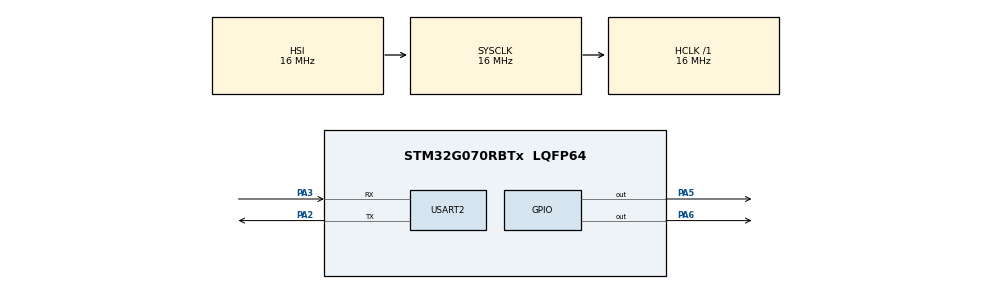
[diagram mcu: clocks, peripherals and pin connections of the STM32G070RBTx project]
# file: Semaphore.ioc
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Mcu.Family=STM32G0
Mcu.Name=STM32G070RBTx
Mcu.Package=LQFP64
NVIC.TIM3_IRQn=true\:3\:0\:false\:false\:true\:false\:true\:true
NVIC.TimeBase=TIM3_IRQn
NVIC.TimeBaseIP=TIM3
PA13.Mode=Serial_Wire
PA13.Signal=SYS_SWDIO
PA14-BOOT0.Mode=Serial_Wire
PA14-BOOT0.Signal=SYS_SWCLK
PA2.Mode=Asynchronous
PA2.Signal=USART2_TX
PA3.Mode=Asynchronous
PA3.Signal=USART2_RX
PA5.Signal=GPIO_Output
PA6.Signal=GPIO_Output
PC14-OSC32_IN\ (PC14).Mode=LSE-External-Oscillator
PC14-OSC32_IN\ (PC14).Signal=RCC_OSC32_IN
PC15-OSC32_OUT\ (PC15).Mode=LSE-External-Oscillator
PC15-OSC32_OUT\ (PC15).Signal=RCC_OSC32_OUT
PF0-OSC_IN\ (PF0).Mode=HSE-External-Clock-Source
PF0-OSC_IN\ (PF0).Signal=RCC_OSC_IN
ProjectManager.HeapSize=0x200
ProjectManager.StackSize=0x400
ProjectManager.TargetToolchain=STM32CubeIDE
RCC.AHBFreq_Value=16000000
RCC.CortexFreq_Value=16000000
RCC.EXTERNAL_CLOCK_VALUE=12288000
RCC.HCLKFreq_Value=16000000
RCC.HSE_VALUE=8000000
RCC.HSI_VALUE=16000000
RCC.SYSCLKFreq_VALUE=16000000
RCC.VCOOutputFreq_Value=128000000
USART2.VirtualMode-Asynchronous=VM_ASYNC
VP_SYS_VS_tim3.Mode=TIM3
board=NUCLEO-G070RB

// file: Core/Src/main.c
/* USER CODE BEGIN Header */
/**
  ******************************************************************************
  * @file           : main.c
  * @brief          : Main program body
  ******************************************************************************
  * @attention
  *
  * Copyright (c) 2023 STMicroelectronics.
  * All rights reserved.
  *
  * This software is licensed under terms that can be found in the LICENSE file
  * in the root directory of this software component.
  * If no LICENSE file comes with this software, it is provided AS-IS.
  *
  ******************************************************************************
  */
/* USER CODE END Header */
#include "main.h"

/* USER CODE BEGIN Includes */
#include "FreeRTOS.h"
#include "semphr.h"
#include "task.h"

/* USER CODE END Includes */

UART_HandleTypeDef huart2;

/* USER CODE BEGIN PV */
SemaphoreHandle_t BinSem;

/* USER CODE END PV */

void SystemClock_Config(void);
static void MX_GPIO_Init(void);
static void MX_USART2_UART_Init(void);
/* USER CODE BEGIN PFP */
static void LED_ON (void *p);
static void LED_OFF (void *p);
static void IDLE_TASK (void *p);

/* USER CODE END PFP */

/* USER CODE BEGIN 0 */

void transmit1 (void)
{
	uint8_t data[] = "Led_On\r\n";
	HAL_UART_Transmit(&huart2, data, sizeof(data), 1000);
}

void transmit2 (void)
{
	uint8_t data[] = "Led_Off\r\n";
	HAL_UART_Transmit(&huart2, data, sizeof(data), 1000);
}

void transmit3 (void)
{
	uint8_t data[] = "Idle_task\r\n";
	HAL_UART_Transmit(&huart2, data, sizeof(data), 1000);
}

static void LED_ON (void *p)
{
	while(1)
	{
		xSemaphoreTake(BinSem, portMAX_DELAY);
		transmit1();
		HAL_GPIO_WritePin(GPIOA,GPIO_PIN_5,SET);
		xSemaphoreGive(BinSem);
		vTaskDelay(500);

	}
}

static void LED_OFF (void *p)
{
	while(1)
	{
		xSemaphoreTake(BinSem, portMAX_DELAY);
		transmit2();
		HAL_GPIO_WritePin(GPIOA,GPIO_PIN_5,RESET);
		xSemaphoreGive(BinSem);
		vTaskDelay(1000);
	}
}

static void IDLE_TASK (void *p)
{
	while(1)
	{
		xSemaphoreTake(BinSem, portMAX_DELAY);
		transmit3();
		HAL_GPIO_WritePin(GPIOA,GPIO_PIN_6,SET);
		xSemaphoreGive(BinSem);
		vTaskDelay(1000);
	}
}

/* USER CODE END 0 */

int main(void)
{
  /* USER CODE BEGIN 1 */
	TaskHandle_t t1,t2,t3;

  /* USER CODE END 1 */

  /* MCU Configuration--------------------------------------------------------*/

  /* Reset of all peripherals, Initializes the Flash interface and the Systick. */
  HAL_Init();

  /* Configure the system clock */
  SystemClock_Config();

  /* Initialize all configured peripherals */
  MX_GPIO_Init();
  MX_USART2_UART_Init();
  /* USER CODE BEGIN 2 */

  BinSem = xSemaphoreCreateBinary();

  xTaskCreate(LED_ON,"T1",200, NULL, 2, &t1);
  xTaskCreate(LED_OFF,"T2",200, NULL, 2, &t2);
  xTaskCreate(IDLE_TASK,"T3",200, NULL, 2, &t3);

  xSemaphoreGive(BinSem);

  vTaskStartScheduler();

  /* USER CODE END 2 */

  /* Infinite loop */
  while (1)
  {

  }
}

void SystemClock_Config(void)
{
  RCC_OscInitTypeDef RCC_OscInitStruct = {0};
  RCC_ClkInitTypeDef RCC_ClkInitStruct = {0};

  /** Configure the main internal regulator output voltage
  */
  HAL_PWREx_ControlVoltageScaling(PWR_REGULATOR_VOLTAGE_SCALE1);

  /** Initializes the RCC Oscillators according to the specified parameters
  * in the RCC_OscInitTypeDef structure.
  */
  RCC_OscInitStruct.OscillatorType = RCC_OSCILLATORTYPE_HSI;
  RCC_OscInitStruct.HSIState = RCC_HSI_ON;
  RCC_OscInitStruct.HSIDiv = RCC_HSI_DIV1;
  RCC_OscInitStruct.HSICalibrationValue = RCC_HSICALIBRATION_DEFAULT;
  RCC_OscInitStruct.PLL.PLLState = RCC_PLL_NONE;
  if (HAL_RCC_OscConfig(&RCC_OscInitStruct) != HAL_OK)
  {
    Error_Handler();
  }

  /** Initializes the CPU, AHB and APB buses clocks
  */
  RCC_ClkInitStruct.ClockType = RCC_CLOCKTYPE_HCLK|RCC_CLOCKTYPE_SYSCLK
                              |RCC_CLOCKTYPE_PCLK1;
  RCC_ClkInitStruct.SYSCLKSource = RCC_SYSCLKSOURCE_HSI;
  RCC_ClkInitStruct.AHBCLKDivider = RCC_SYSCLK_DIV1;
  RCC_ClkInitStruct.APB1CLKDivider = RCC_HCLK_DIV1;

  if (HAL_RCC_ClockConfig(&RCC_ClkInitStruct, FLASH_LATENCY_0) != HAL_OK)
  {
    Error_Handler();
  }
}

static void MX_USART2_UART_Init(void)
{

  huart2.Instance = USART2;
  huart2.Init.BaudRate = 115200;
  huart2.Init.WordLength = UART_WORDLENGTH_8B;
  huart2.Init.StopBits = UART_STOPBITS_1;
  huart2.Init.Parity = UART_PARITY_NONE;
  huart2.Init.Mode = UART_MODE_TX_RX;
  huart2.Init.HwFlowCtl = UART_HWCONTROL_NONE;
  huart2.Init.OverSampling = UART_OVERSAMPLING_16;
  huart2.Init.OneBitSampling = UART_ONE_BIT_SAMPLE_DISABLE;
  huart2.Init.ClockPrescaler = UART_PRESCALER_DIV1;
  huart2.AdvancedInit.AdvFeatureInit = UART_ADVFEATURE_NO_INIT;
  if (HAL_UART_Init(&huart2) != HAL_OK)
  {
    Error_Handler();
  }
  if (HAL_UARTEx_SetTxFifoThreshold(&huart2, UART_TXFIFO_THRESHOLD_1_8) != HAL_OK)
  {
    Error_Handler();
  }
  if (HAL_UARTEx_SetRxFifoThreshold(&huart2, UART_RXFIFO_THRESHOLD_1_8) != HAL_OK)
  {
    Error_Handler();
  }
  if (HAL_UARTEx_DisableFifoMode(&huart2) != HAL_OK)
  {
    Error_Handler();
  }

}

static void MX_GPIO_Init(void)
{
  GPIO_InitTypeDef GPIO_InitStruct = {0};

  /* GPIO Ports Clock Enable */
  __HAL_RCC_GPIOC_CLK_ENABLE();
  __HAL_RCC_GPIOF_CLK_ENABLE();
  __HAL_RCC_GPIOA_CLK_ENABLE();

  /*Configure GPIO pin Output Level */
  HAL_GPIO_WritePin(GPIOA, GPIO_PIN_5|GPIO_PIN_6, GPIO_PIN_RESET);

  /*Configure GPIO pins : PA5 PA6 */
  GPIO_InitStruct.Pin = GPIO_PIN_5|GPIO_PIN_6;
  GPIO_InitStruct.Mode = GPIO_MODE_OUTPUT_PP;
  GPIO_InitStruct.Pull = GPIO_NOPULL;
  GPIO_InitStruct.Speed = GPIO_SPEED_FREQ_LOW;
  HAL_GPIO_Init(GPIOA, &GPIO_InitStruct);

}

void HAL_TIM_PeriodElapsedCallback(TIM_HandleTypeDef *htim)
{
  if (htim->Instance == TIM3) {
    HAL_IncTick();
  }
}

void Error_Handler(void)
{
  __disable_irq();
  while (1)
  {
  }
}
